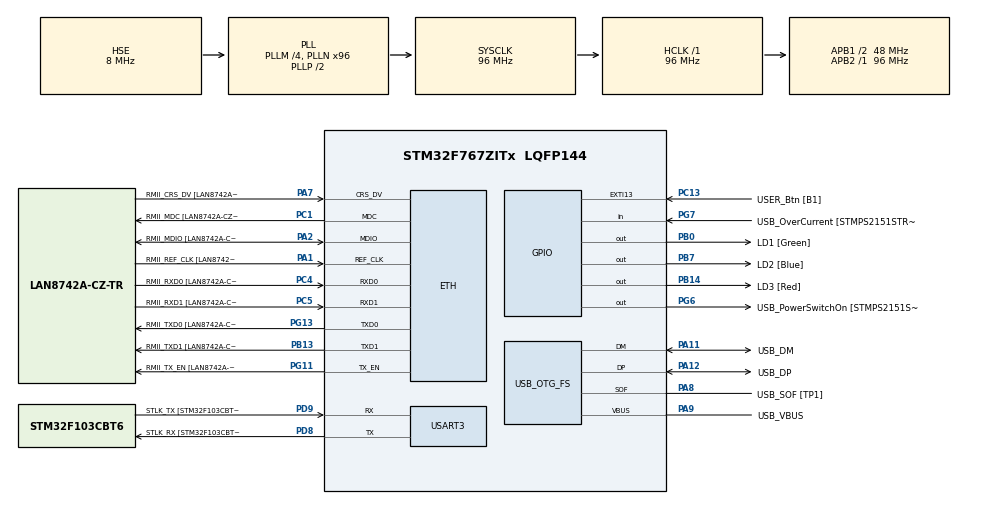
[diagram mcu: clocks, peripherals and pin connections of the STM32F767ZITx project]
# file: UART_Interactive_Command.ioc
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ETH.MediaInterface=HAL_ETH_RMII_MODE
ETH.PHY_Name=LAN8742A_PHY_ADDRESS
ETH.PHY_Value=0
ETH.PhyAddress=0
Mcu.Family=STM32F7
Mcu.Name=STM32F767ZITx
Mcu.Package=LQFP144
NVIC.PriorityGroup=NVIC_PRIORITYGROUP_4
NVIC.USART3_IRQn=true\:0\:0\:false\:false\:true\:true\:true\:true
PA1.GPIO_Label=RMII_REF_CLK [LAN8742A-CZ-TR_REFCLK0]
PA1.Mode=RMII
PA1.Signal=ETH_REF_CLK
PA10.GPIO_Label=USB_ID
PA10.Signal=USB_OTG_FS_ID
PA11.GPIO_Label=USB_DM
PA11.Mode=Device_Only
PA11.Signal=USB_OTG_FS_DM
PA12.GPIO_Label=USB_DP
PA12.Mode=Device_Only
PA12.Signal=USB_OTG_FS_DP
PA13.GPIO_Label=TMS
PA13.Mode=Serial_Wire
PA13.Signal=SYS_JTMS-SWDIO
PA14.GPIO_Label=TCK
PA14.Mode=Serial_Wire
PA14.Signal=SYS_JTCK-SWCLK
PA2.GPIO_Label=RMII_MDIO [LAN8742A-CZ-TR_MDIO]
PA2.Mode=RMII
PA2.Signal=ETH_MDIO
PA7.GPIO_Label=RMII_CRS_DV [LAN8742A-CZ-TR_CRS_DV]
PA7.Mode=RMII
PA7.Signal=ETH_CRS_DV
PA8.GPIO_Label=USB_SOF [TP1]
PA8.Mode=Activate_SOF_FS
PA8.Signal=USB_OTG_FS_SOF
PA9.GPIO_Label=USB_VBUS
PA9.Mode=Activate_VBUS
PA9.Signal=USB_OTG_FS_VBUS
PB0.GPIO_Label=LD1 [Green]
PB0.Signal=GPIO_Output
PB13.GPIO_Label=RMII_TXD1 [LAN8742A-CZ-TR_TXD1]
PB13.Mode=RMII
PB13.Signal=ETH_TXD1
PB14.GPIO_Label=LD3 [Red]
PB14.Signal=GPIO_Output
PB3.GPIO_Label=SWO
PB3.Signal=SYS_JTDO-SWO
PB7.GPIO_Label=LD2 [Blue]
PB7.Signal=GPIO_Output
PC1.GPIO_Label=RMII_MDC [LAN8742A-CZ-TR_MDC]
PC1.Mode=RMII
PC1.Signal=ETH_MDC
PC13.GPIO_Label=USER_Btn [B1]
PC13.Signal=GPXTI13
PC14/OSC32_IN.Mode=LSE-External-Oscillator
PC14/OSC32_IN.Signal=RCC_OSC32_IN
PC15/OSC32_OUT.Mode=LSE-External-Oscillator
PC15/OSC32_OUT.Signal=RCC_OSC32_OUT
PC4.GPIO_Label=RMII_RXD0 [LAN8742A-CZ-TR_RXD0]
PC4.Mode=RMII
PC4.Signal=ETH_RXD0
PC5.GPIO_Label=RMII_RXD1 [LAN8742A-CZ-TR_RXD1]
PC5.Mode=RMII
PC5.Signal=ETH_RXD1
PD8.GPIO_Label=STLK_RX [STM32F103CBT6_PA3]
PD8.Mode=Asynchronous
PD8.Signal=USART3_TX
PD9.GPIO_Label=STLK_TX [STM32F103CBT6_PA2]
PD9.Mode=Asynchronous
PD9.Signal=USART3_RX
PG11.GPIO_Label=RMII_TX_EN [LAN8742A-CZ-TR_TXEN]
PG11.Mode=RMII
PG11.Signal=ETH_TX_EN
PG13.GPIO_Label=RMII_TXD0 [LAN8742A-CZ-TR_TXD0]
PG13.Mode=RMII
PG13.Signal=ETH_TXD0
PG6.GPIO_Label=USB_PowerSwitchOn [STMPS2151STR_EN]
PG6.Signal=GPIO_Output
PG7.GPIO_Label=USB_OverCurrent [STMPS2151STR_FAULT]
PG7.Signal=GPIO_Input
PH0/OSC_IN.GPIO_Label=MCO [STM32F103CBT6_PA8]
PH0/OSC_IN.Mode=HSE-External-Clock-Source
PH0/OSC_IN.Signal=RCC_OSC_IN
PH1/OSC_OUT.Mode=HSE-External-Clock-Source
PH1/OSC_OUT.Signal=RCC_OSC_OUT
ProjectManager.HeapSize=0x200
ProjectManager.StackSize=0x400
ProjectManager.TargetToolchain=STM32CubeIDE
RCC.48MHZClocksFreq_Value=24000000
RCC.AHBFreq_Value=96000000
RCC.APB1CLKDivider=RCC_HCLK_DIV2
RCC.APB1Freq_Value=48000000
RCC.APB1TimFreq_Value=96000000
RCC.APB2Freq_Value=96000000
RCC.APB2TimFreq_Value=96000000
RCC.CortexFreq_Value=96000000
RCC.HCLKFreq_Value=96000000
RCC.HSE_VALUE=8000000
RCC.HSI_VALUE=16000000
RCC.PLLM=4
RCC.PLLMUL=RCC_PLL_MUL9
RCC.PLLN=96
RCC.PLLQ=4
RCC.PRESCALERUSB=RCC_USBCLKSOURCE_PLL_DIV1_5
RCC.SYSCLKFreq_VALUE=96000000
RCC.SYSCLKSource=RCC_SYSCLKSOURCE_PLLCLK
RCC.SYSCLKSourceVirtual=RCC_SYSCLKSOURCE_PLLCLK
RCC.USBFreq_Value=48000000
RCC.VCOOutputFreq_Value=192000000
USART3.VirtualMode-Asynchronous=VM_ASYNC
USB_OTG_FS.VirtualMode=Device_Only
board=NUCLEO-F767ZI

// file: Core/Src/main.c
/* USER CODE BEGIN Header */
/**
  ******************************************************************************
  * @file           : main.c
  * @brief          : Main program body
  ******************************************************************************
  * @attention
  *
  * Copyright (c) 2025 STMicroelectronics.
  * All rights reserved.
  *
  * This software is licensed under terms that can be found in the LICENSE file
  * in the root directory of this software component.
  * If no LICENSE file comes with this software, it is provided AS-IS.
  *
  ******************************************************************************
  */
/* USER CODE END Header */
#include "main.h"
#include "string.h"

/* USER CODE BEGIN PD */
#define MAX_LEN 100

/* USER CODE END PD */

#if defined ( __ICCARM__ ) /*!< IAR Compiler */
#pragma location=0x2007c000
ETH_DMADescTypeDef  DMARxDscrTab[ETH_RX_DESC_CNT]; /* Ethernet Rx DMA Descriptors */
#pragma location=0x2007c0a0
ETH_DMADescTypeDef  DMATxDscrTab[ETH_TX_DESC_CNT]; /* Ethernet Tx DMA Descriptors */

#elif defined ( __CC_ARM )  /* MDK ARM Compiler */

__attribute__((at(0x2007c000))) ETH_DMADescTypeDef  DMARxDscrTab[ETH_RX_DESC_CNT]; /* Ethernet Rx DMA Descriptors */
__attribute__((at(0x2007c0a0))) ETH_DMADescTypeDef  DMATxDscrTab[ETH_TX_DESC_CNT]; /* Ethernet Tx DMA Descriptors */

#elif defined ( __GNUC__ ) /* GNU Compiler */

ETH_DMADescTypeDef DMARxDscrTab[ETH_RX_DESC_CNT] __attribute__((section(".RxDecripSection"))); /* Ethernet Rx DMA Descriptors */
ETH_DMADescTypeDef DMATxDscrTab[ETH_TX_DESC_CNT] __attribute__((section(".TxDecripSection")));   /* Ethernet Tx DMA Descriptors */
#endif

ETH_TxPacketConfig TxConfig;

ETH_HandleTypeDef heth;

UART_HandleTypeDef huart3;

PCD_HandleTypeDef hpcd_USB_OTG_FS;

/* USER CODE BEGIN PV */
char rx_buffer[MAX_LEN];
uint8_t idx = 0;
uint8_t rx_byte;

/* USER CODE END PV */

void SystemClock_Config(void);
static void MX_GPIO_Init(void);
static void MX_ETH_Init(void);
static void MX_USART3_UART_Init(void);
static void MX_USB_OTG_FS_PCD_Init(void);
/* USER CODE BEGIN PFP */
void HAL_UART_RxCpltCallback(UART_HandleTypeDef *huart);
/* USER CODE END PFP */

/* USER CODE BEGIN 0 */
void HAL_UART_RxCpltCallback(UART_HandleTypeDef *huart) {
    if (huart->Instance == USART3) {
        if (rx_byte == '\r' || rx_byte == '\n') {
            rx_buffer[idx] = '\0'; // null-terminate the string
            idx = 0; // reset for next message

            // Now do something with rx_buffer!
            HAL_UART_Transmit(&huart3, (uint8_t*)rx_buffer, strlen(rx_buffer), HAL_MAX_DELAY);
        } else {
            if (idx < MAX_LEN - 1) {
                rx_buffer[idx++] = rx_byte;
            } else {
                idx = 0; // simple overflow protection
            }
        }

        // Re-arm the interrupt to receive next byte
        HAL_UART_Receive_IT(&huart3, &rx_byte, 1);
    }
}

/* USER CODE END 0 */

int main(void)
{

  /* MCU Configuration--------------------------------------------------------*/

  /* Reset of all peripherals, Initializes the Flash interface and the Systick. */
  HAL_Init();

  /* Configure the system clock */
  SystemClock_Config();

  /* Initialize all configured peripherals */
  MX_GPIO_Init();
  MX_ETH_Init();
  MX_USART3_UART_Init();
  MX_USB_OTG_FS_PCD_Init();
  /* USER CODE BEGIN 2 */
  HAL_UART_Receive_IT(&huart3, &rx_byte, 1);
  /* USER CODE END 2 */

  /* Infinite loop */
  while (1)
  {

  }
}

void SystemClock_Config(void)
{
  RCC_OscInitTypeDef RCC_OscInitStruct = {0};
  RCC_ClkInitTypeDef RCC_ClkInitStruct = {0};

  /** Configure LSE Drive Capability
  */
  HAL_PWR_EnableBkUpAccess();

  /** Configure the main internal regulator output voltage
  */
  __HAL_RCC_PWR_CLK_ENABLE();
  __HAL_PWR_VOLTAGESCALING_CONFIG(PWR_REGULATOR_VOLTAGE_SCALE3);

  /** Initializes the RCC Oscillators according to the specified parameters
  * in the RCC_OscInitTypeDef structure.
  */
  RCC_OscInitStruct.OscillatorType = RCC_OSCILLATORTYPE_HSE;
  RCC_OscInitStruct.HSEState = RCC_HSE_BYPASS;
  RCC_OscInitStruct.PLL.PLLState = RCC_PLL_ON;
  RCC_OscInitStruct.PLL.PLLSource = RCC_PLLSOURCE_HSE;
  RCC_OscInitStruct.PLL.PLLM = 4;
  RCC_OscInitStruct.PLL.PLLN = 96;
  RCC_OscInitStruct.PLL.PLLP = RCC_PLLP_DIV2;
  RCC_OscInitStruct.PLL.PLLQ = 4;
  RCC_OscInitStruct.PLL.PLLR = 2;
  if (HAL_RCC_OscConfig(&RCC_OscInitStruct) != HAL_OK)
  {
    Error_Handler();
  }

  /** Activate the Over-Drive mode
  */
  if (HAL_PWREx_EnableOverDrive() != HAL_OK)
  {
    Error_Handler();
  }

  /** Initializes the CPU, AHB and APB buses clocks
  */
  RCC_ClkInitStruct.ClockType = RCC_CLOCKTYPE_HCLK|RCC_CLOCKTYPE_SYSCLK
                              |RCC_CLOCKTYPE_PCLK1|RCC_CLOCKTYPE_PCLK2;
  RCC_ClkInitStruct.SYSCLKSource = RCC_SYSCLKSOURCE_PLLCLK;
  RCC_ClkInitStruct.AHBCLKDivider = RCC_SYSCLK_DIV1;
  RCC_ClkInitStruct.APB1CLKDivider = RCC_HCLK_DIV2;
  RCC_ClkInitStruct.APB2CLKDivider = RCC_HCLK_DIV1;

  if (HAL_RCC_ClockConfig(&RCC_ClkInitStruct, FLASH_LATENCY_3) != HAL_OK)
  {
    Error_Handler();
  }
}

static void MX_ETH_Init(void)
{

   static uint8_t MACAddr[6];

  heth.Instance = ETH;
  MACAddr[0] = 0x00;
  MACAddr[1] = 0x80;
  MACAddr[2] = 0xE1;
  MACAddr[3] = 0x00;
  MACAddr[4] = 0x00;
  MACAddr[5] = 0x00;
  heth.Init.MACAddr = &MACAddr[0];
  heth.Init.MediaInterface = HAL_ETH_RMII_MODE;
  heth.Init.TxDesc = DMATxDscrTab;
  heth.Init.RxDesc = DMARxDscrTab;
  heth.Init.RxBuffLen = 1524;

  if (HAL_ETH_Init(&heth) != HAL_OK)
  {
    Error_Handler();
  }

  memset(&TxConfig, 0 , sizeof(ETH_TxPacketConfig));
  TxConfig.Attributes = ETH_TX_PACKETS_FEATURES_CSUM | ETH_TX_PACKETS_FEATURES_CRCPAD;
  TxConfig.ChecksumCtrl = ETH_CHECKSUM_IPHDR_PAYLOAD_INSERT_PHDR_CALC;
  TxConfig.CRCPadCtrl = ETH_CRC_PAD_INSERT;

}

static void MX_USART3_UART_Init(void)
{

  huart3.Instance = USART3;
  huart3.Init.BaudRate = 115200;
  huart3.Init.WordLength = UART_WORDLENGTH_8B;
  huart3.Init.StopBits = UART_STOPBITS_1;
  huart3.Init.Parity = UART_PARITY_NONE;
  huart3.Init.Mode = UART_MODE_TX_RX;
  huart3.Init.HwFlowCtl = UART_HWCONTROL_NONE;
  huart3.Init.OverSampling = UART_OVERSAMPLING_16;
  huart3.Init.OneBitSampling = UART_ONE_BIT_SAMPLE_DISABLE;
  huart3.AdvancedInit.AdvFeatureInit = UART_ADVFEATURE_NO_INIT;
  if (HAL_UART_Init(&huart3) != HAL_OK)
  {
    Error_Handler();
  }

}

static void MX_USB_OTG_FS_PCD_Init(void)
{

  hpcd_USB_OTG_FS.Instance = USB_OTG_FS;
  hpcd_USB_OTG_FS.Init.dev_endpoints = 6;
  hpcd_USB_OTG_FS.Init.speed = PCD_SPEED_FULL;
  hpcd_USB_OTG_FS.Init.dma_enable = DISABLE;
  hpcd_USB_OTG_FS.Init.phy_itface = PCD_PHY_EMBEDDED;
  hpcd_USB_OTG_FS.Init.Sof_enable = ENABLE;
  hpcd_USB_OTG_FS.Init.low_power_enable = DISABLE;
  hpcd_USB_OTG_FS.Init.lpm_enable = DISABLE;
  hpcd_USB_OTG_FS.Init.vbus_sensing_enable = ENABLE;
  hpcd_USB_OTG_FS.Init.use_dedicated_ep1 = DISABLE;
  if (HAL_PCD_Init(&hpcd_USB_OTG_FS) != HAL_OK)
  {
    Error_Handler();
  }

}

static void MX_GPIO_Init(void)
{
  GPIO_InitTypeDef GPIO_InitStruct = {0};

  /* GPIO Ports Clock Enable */
  __HAL_RCC_GPIOC_CLK_ENABLE();
  __HAL_RCC_GPIOH_CLK_ENABLE();
  __HAL_RCC_GPIOA_CLK_ENABLE();
  __HAL_RCC_GPIOB_CLK_ENABLE();
  __HAL_RCC_GPIOD_CLK_ENABLE();
  __HAL_RCC_GPIOG_CLK_ENABLE();

  /*Configure GPIO pin Output Level */
  HAL_GPIO_WritePin(GPIOB, LD1_Pin|LD3_Pin|LD2_Pin, GPIO_PIN_RESET);

  /*Configure GPIO pin Output Level */
  HAL_GPIO_WritePin(USB_PowerSwitchOn_GPIO_Port, USB_PowerSwitchOn_Pin, GPIO_PIN_RESET);

  /*Configure GPIO pin : USER_Btn_Pin */
  GPIO_InitStruct.Pin = USER_Btn_Pin;
  GPIO_InitStruct.Mode = GPIO_MODE_IT_RISING;
  GPIO_InitStruct.Pull = GPIO_NOPULL;
  HAL_GPIO_Init(USER_Btn_GPIO_Port, &GPIO_InitStruct);

  /*Configure GPIO pins : LD1_Pin LD3_Pin LD2_Pin */
  GPIO_InitStruct.Pin = LD1_Pin|LD3_Pin|LD2_Pin;
  GPIO_InitStruct.Mode = GPIO_MODE_OUTPUT_PP;
  GPIO_InitStruct.Pull = GPIO_NOPULL;
  GPIO_InitStruct.Speed = GPIO_SPEED_FREQ_LOW;
  HAL_GPIO_Init(GPIOB, &GPIO_InitStruct);

  /*Configure GPIO pin : USB_PowerSwitchOn_Pin */
  GPIO_InitStruct.Pin = USB_PowerSwitchOn_Pin;
  GPIO_InitStruct.Mode = GPIO_MODE_OUTPUT_PP;
  GPIO_InitStruct.Pull = GPIO_NOPULL;
  GPIO_InitStruct.Speed = GPIO_SPEED_FREQ_LOW;
  HAL_GPIO_Init(USB_PowerSwitchOn_GPIO_Port, &GPIO_InitStruct);

  /*Configure GPIO pin : USB_OverCurrent_Pin */
  GPIO_InitStruct.Pin = USB_OverCurrent_Pin;
  GPIO_InitStruct.Mode = GPIO_MODE_INPUT;
  GPIO_InitStruct.Pull = GPIO_NOPULL;
  HAL_GPIO_Init(USB_OverCurrent_GPIO_Port, &GPIO_InitStruct);

}

void Error_Handler(void)
{
  __disable_irq();
  while (1)
  {
  }
}
